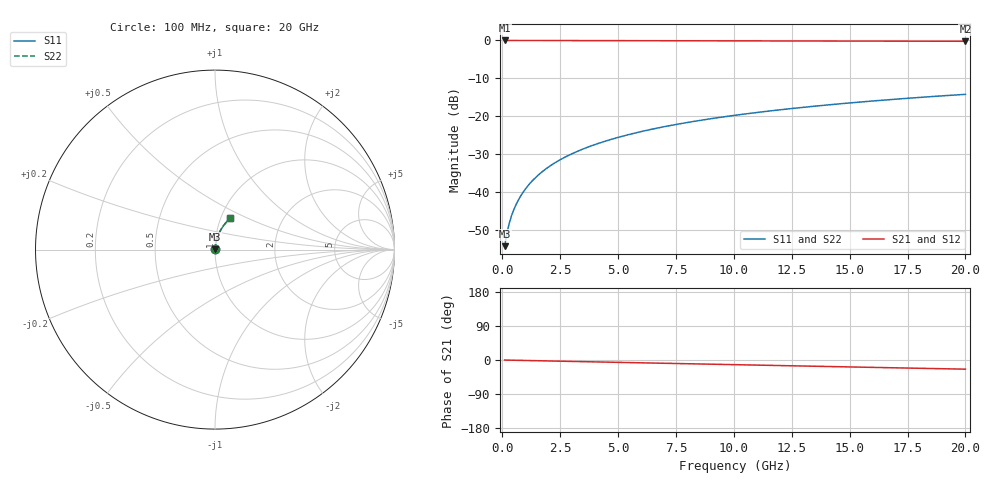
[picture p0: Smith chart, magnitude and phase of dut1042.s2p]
! Touchstone file exported from HFSS 2026.1.0
!  File:  C:/ffzhzh/LocalFiles/Ansys_Project_Files/temp_train_BSMRDL_1042_1783173785_22436.aedt
!  Generated:  10:04:18 PM Jul  4, 2026
!  Design:  BSMRDL
!  Project:  temp_train_BSMRDL_1042_1783173785_22436
! Variables:
!  h_bsmrdl = 3.54um
!  h_ox = 20um
!  h_rdl = 5um
!  h_sub = 80um
!  h_tmrdl = 5um
!  h_tsv = 80um
!  h_via = 3um
!  l_bsmrdl = 347.05um
!  l_sub = 747.05um
!  l_tmrdl = 200um
!  m_sub = 200um
!  pitch = 47.98um
!  r_tsv = 6um
!  s_tmrdl = 10um
!  w_bsmrdl = 27.99um
!  w_sub = 500um
!  w_tmrdl = 12um
!  x_tsv_center1 = 206um
!  x_tsv_center2 = 581.04um
!  x_tsv_center3 = 793.04um
!  x_tsv_center4 = 1168.08um
!  x_tsv_center5 = 1380.08um
!  x_tsv_center6 = 1755.12um
# GHz S MA R 50.000000
! Terminal data exported
! Port[1] = BSM_RDL1_1_T1
! Port[2] = BSM_RDL1_1_T2
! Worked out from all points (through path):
!   200 points, 100 MHz to 20 GHz, reference 50 ohm
!   highest |S21| = -0.01 dB at 100 MHz (marker M1); lowest = -0.2 dB at 20 GHz (marker M2)
!   group delay of S21, straight-line fit = 3.36 ps
!   lowest |S11| = -54.3 dB at 100 MHz (marker M3), VSWR 1.00, Z = 50.2 + j0.123 ohm
!   |S11| at or under -10 dB: start of sweep to end of sweep
!   |S22| runs from -54.3 to -14.2 dB; largest |S21 - S12| = 3.3e-15
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0.1  0.001938 39.1  0.9985 -0.1  0.9985 -0.1  0.001938 39.1
! Gamma 0 0 0 0
! Port Impedance 50 0 50 0
0.2  0.00288 55.8  0.9984 -0.3  0.9984 -0.3  0.00288 55.8
0.3  0.003885 63.4  0.9983 -0.4  0.9983 -0.4  0.003885 63.4
0.4  0.00489 67.9  0.9982 -0.5  0.9982 -0.5  0.00489 67.9
0.5  0.005896 70.9  0.9981 -0.6  0.9981 -0.6  0.005896 70.9
0.6  0.006907 73.2  0.9981 -0.8  0.9981 -0.8  0.006907 73.2
0.8  0.008948 76.2  0.998 -1.0  0.998 -1.0  0.008947 76.2
1.1  0.01205 78.8  0.9979 -1.4  0.9979 -1.4  0.01205 78.8
1.3  0.01413 79.9  0.9978 -1.6  0.9978 -1.6  0.01413 79.9
1.6  0.01727 80.9  0.9977 -2.0  0.9977 -2.0  0.01727 80.9
2.1  0.02252 81.6  0.9975 -2.6  0.9975 -2.6  0.02252 81.6
2.7  0.02881 81.8  0.9972 -3.4  0.9972 -3.4  0.02881 81.9
3.5  0.03716 81.6  0.9967 -4.4  0.9967 -4.4  0.03716 81.6
4.2  0.04442 81.1  0.9962 -5.2  0.9962 -5.2  0.04442 81.1
5  0.05265 80.4  0.9955 -6.2  0.9955 -6.2  0.05265 80.4
5.9  0.06183 79.5  0.9946 -7.3  0.9946 -7.3  0.06183 79.5
6.8  0.07091 78.5  0.9937 -8.4  0.9937 -8.4  0.07091 78.5
8.3  0.08585 76.9  0.992 -10.3  0.992 -10.3  0.08585 76.9
10.1  0.1035 74.9  0.9898 -12.4  0.9898 -12.4  0.1035 74.9
13.4  0.135 71.2  0.9852 -16.4  0.9852 -16.4  0.135 71.2
16.7  0.1654 67.5  0.9799 -20.3  0.9799 -20.3  0.1654 67.5
20  0.1946 63.8  0.9741 -24.2  0.9741 -24.2  0.1945 63.8
